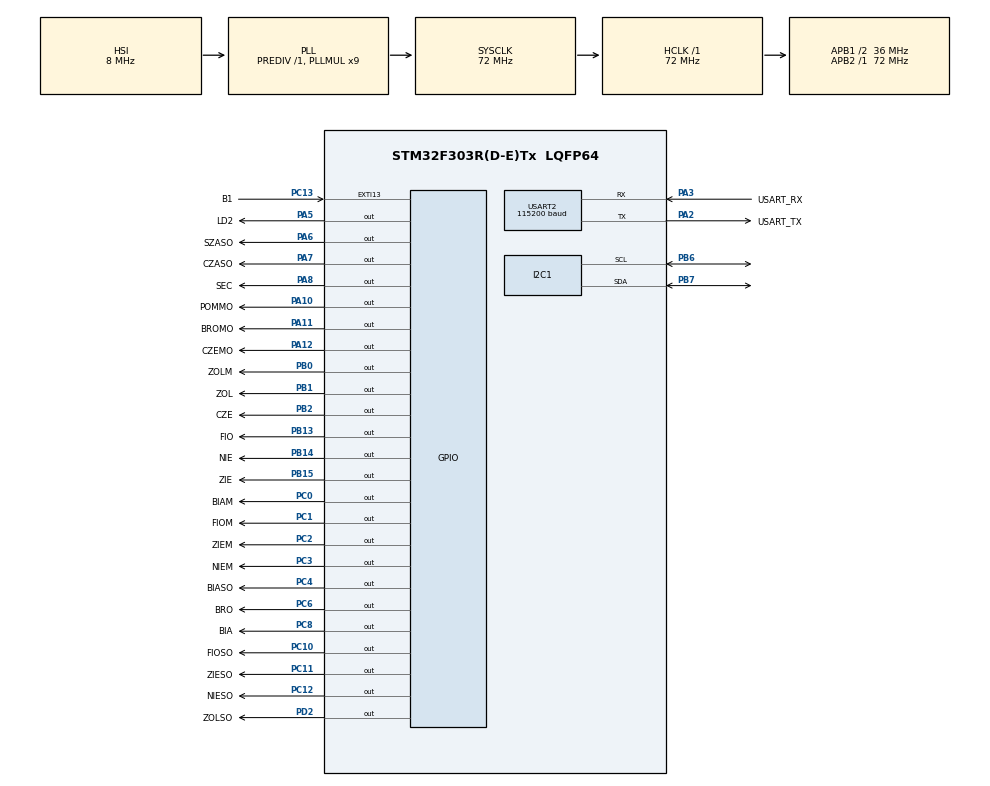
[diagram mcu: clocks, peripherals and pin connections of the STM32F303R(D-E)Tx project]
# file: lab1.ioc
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Mcu.Family=STM32F3
Mcu.Name=STM32F303R(D-E)Tx
Mcu.Package=LQFP64
NVIC.EXTI15_10_IRQn=true\:0\:0\:false\:false\:true\:true\:true
NVIC.I2C1_EV_IRQn=true\:0\:0\:false\:false\:true\:true\:true
NVIC.PriorityGroup=NVIC_PRIORITYGROUP_0
NVIC.RTC_Alarm_IRQn=true\:0\:0\:false\:false\:true\:true\:true
NVIC.RTC_WKUP_IRQn=true\:0\:0\:false\:false\:true\:true\:true
NVIC.TIM6_DAC_IRQn=true\:0\:0\:false\:false\:true\:true\:true
NVIC.TIM7_IRQn=true\:0\:0\:false\:false\:true\:true\:true
NVIC.USART2_IRQn=true\:0\:0\:false\:false\:true\:true\:true
PA10.GPIO_Label=POMMO
PA10.Signal=GPIO_Output
PA11.GPIO_Label=BROMO
PA11.Signal=GPIO_Output
PA12.GPIO_Label=CZEMO
PA12.Signal=GPIO_Output
PA13.GPIO_Label=TMS
PA13.Mode=Serial_Wire
PA13.Signal=SYS_JTMS-SWDIO
PA14.GPIO_Label=TCK
PA14.Mode=Serial_Wire
PA14.Signal=SYS_JTCK-SWCLK
PA2.GPIO_Label=USART_TX
PA2.GPIO_Mode=GPIO_MODE_AF_PP
PA2.GPIO_PuPd=GPIO_NOPULL
PA2.GPIO_Speed=GPIO_SPEED_FREQ_LOW
PA2.Mode=Asynchronous
PA2.Signal=USART2_TX
PA3.GPIO_Label=USART_RX
PA3.GPIO_Mode=GPIO_MODE_AF_PP
PA3.GPIO_PuPd=GPIO_NOPULL
PA3.GPIO_Speed=GPIO_SPEED_FREQ_LOW
PA3.Mode=Asynchronous
PA3.Signal=USART2_RX
PA5.GPIO_Label=LD2
PA5.GPIO_Mode=GPIO_MODE_OUTPUT_PP
PA5.GPIO_PuPd=GPIO_NOPULL
PA5.GPIO_Speed=GPIO_SPEED_FREQ_LOW
PA5.Signal=GPIO_Output
PA6.GPIO_Label=SZASO
PA6.Signal=GPIO_Output
PA7.GPIO_Label=CZASO
PA7.Signal=GPIO_Output
PA8.GPIO_Label=SEC
PA8.Signal=GPIO_Output
PB0.GPIO_Label=ZOLM
PB0.Signal=GPIO_Output
PB1.GPIO_Label=ZOL
PB1.Signal=GPIO_Output
PB13.GPIO_Label=FIO
PB13.Signal=GPIO_Output
PB14.GPIO_Label=NIE
PB14.Signal=GPIO_Output
PB15.GPIO_Label=ZIE
PB15.Signal=GPIO_Output
PB2.GPIO_Label=CZE
PB2.Signal=GPIO_Output
PB3.GPIO_Label=SWO
PB3.Signal=SYS_JTDO-TRACESWO
PB6.Mode=I2C
PB6.Signal=I2C1_SCL
PB7.Mode=I2C
PB7.Signal=I2C1_SDA
PC0.GPIO_Label=BIAM
PC0.Signal=GPIO_Output
PC1.GPIO_Label=FIOM
PC1.Signal=GPIO_Output
PC10.GPIO_Label=FIOSO
PC10.Signal=GPIO_Output
PC11.GPIO_Label=ZIESO
PC11.Signal=GPIO_Output
PC12.GPIO_Label=NIESO
PC12.Signal=GPIO_Output
PC13.GPIO_Label=B1
PC13.GPIO_ModeDefaultEXTI=GPIO_MODE_IT_FALLING
PC13.Signal=GPXTI13
PC14-OSC32_IN.Mode=LSE-External-Oscillator
PC14-OSC32_IN.Signal=RCC_OSC32_IN
PC15-OSC32_OUT.Mode=LSE-External-Oscillator
PC15-OSC32_OUT.Signal=RCC_OSC32_OUT
PC2.GPIO_Label=ZIEM
PC2.Signal=GPIO_Output
PC3.GPIO_Label=NIEM
PC3.Signal=GPIO_Output
PC4.GPIO_Label=BIASO
PC4.Signal=GPIO_Output
PC6.GPIO_Label=BRO
PC6.Signal=GPIO_Output
PC8.GPIO_Label=BIA
PC8.Signal=GPIO_Output
PD2.GPIO_Label=ZOLSO
PD2.Signal=GPIO_Output
PF0-OSC_IN.Mode=HSE-External-Clock-Source
PF0-OSC_IN.Signal=RCC_OSC_IN
PF1-OSC_OUT.Signal=RCC_OSC_OUT
ProjectManager.HeapSize=0x200
ProjectManager.StackSize=0x400
ProjectManager.TargetToolchain=STM32CubeIDE
RCC.AHBFreq_Value=72000000
RCC.APB1CLKDivider=RCC_HCLK_DIV2
RCC.APB1Freq_Value=36000000
RCC.APB1TimFreq_Value=72000000
RCC.APB2Freq_Value=72000000
RCC.APB2TimFreq_Value=72000000
RCC.CortexFreq_Value=72000000
RCC.HCLKFreq_Value=72000000
RCC.HSE_VALUE=8000000
RCC.HSI_VALUE=8000000
RCC.PLLM=8
RCC.PLLMUL=RCC_PLL_MUL9
RCC.PLLN=336
RCC.PLLP=RCC_PLLP_DIV4
RCC.PLLQ=7
RCC.RCC_PLLsource_Clock_Source_FROM_HSE=RCC_HSE_PREDIV_DIV2
RCC.SYSCLKFreq_VALUE=72000000
RCC.SYSCLKSourceVirtual=RCC_SYSCLKSOURCE_PLLCLK
RCC.USBFreq_Value=72000000
RTC.Alarm-Alarm\ A=RTC_ALARM_A
RTC.Alarm_B-Alarm\ B=RTC_ALARM_B
RTC.Date=30
RTC.Format=RTC_FORMAT_BIN
RTC.Hours=13
RTC.Minutes=58
RTC.WeekDay=RTC_WEEKDAY_SUNDAY
RTC.Year=22
TIM6.AutoReloadPreload=TIM_AUTORELOAD_PRELOAD_ENABLE
TIM6.Period=65536 - 1
TIM6.Prescaler=10000-1
TIM7.AutoReloadPreload=TIM_AUTORELOAD_PRELOAD_ENABLE
TIM7.Prescaler=72-1
USART2.BaudRate=115200
USART2.VirtualMode-Asynchronous=VM_ASYNC
VP_RTC_VS_RTC_Activate.Mode=RTC_Enabled
VP_RTC_VS_RTC_Alarm_A_Intern.Mode=Alarm A
VP_RTC_VS_RTC_Alarm_B_Intern.Mode=Alarm B
VP_RTC_VS_RTC_Calendar.Mode=RTC_Calendar
VP_RTC_VS_RTC_WakeUp_intern.Mode=WakeUp
VP_TIM6_VS_ClockSourceINT.Mode=Enable_Timer
VP_TIM7_VS_ClockSourceINT.Mode=Enable_Timer
board=NUCLEO-F303RE

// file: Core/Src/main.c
/* USER CODE BEGIN Header */
/**
  ******************************************************************************
  * @file           : main.c
  * @brief          : Main program body
  ******************************************************************************
  * @attention
  *
  * <h2><center>&copy; Copyright (c) 2021 STMicroelectronics.
  * All rights reserved.</center></h2>
  *
  * This software component is licensed by ST under BSD 3-Clause license,
  * the "License"; You may not use this file except in compliance with the
  * License. You may obtain a copy of the License at:
  *                        opensource.org/licenses/BSD-3-Clause
  *
  ******************************************************************************
  */
/* USER CODE END Header */
#include "main.h"
#include "i2c.h"
#include "rtc.h"
#include "tim.h"
#include "usart.h"
#include "gpio.h"

/* USER CODE BEGIN Includes */
#include <stdbool.h>
#include <string.h>
#include <ctype.h>
#include <stdarg.h>
#include <stdio.h>

/* USER CODE END Includes */

/* USER CODE BEGIN PD */
#define RX_BUFF_SIZE 512
#define TX_BUFF_SIZE 512
#define FRAME_SIZE 256

/* ===== frame ===== */
#define start_sign 0x24 /* $ */
#define end_sign  0x23 /* # */
#define command_size 128
#define data_size 125

/* USER CODE END PD */

/* USER CODE BEGIN PV */

	static uint16_t x1hzTime = 0;
	static uint16_t x4hzTime = 0;
	static uint8_t x1hz = 0;
	static uint8_t x4hz = 0;
	uint16_t buttonMode = 0;

	/* ============================ USART ====================== */

	/* ===== BUFOR RX ===== */

	uint8_t Rx_buff[RX_BUFF_SIZE];
	uint16_t volatile Rx_empty = 0; //tail //read
	uint16_t volatile Rx_busy = 0; //head //write

	/* ===== BUFOR TX ===== */

	uint8_t Tx_buff[TX_BUFF_SIZE];
	uint16_t volatile Tx_empty = 0;
	uint16_t volatile Tx_busy = 0;

	/* ============================  END USART  ====================== */

	/* ==== FRAME === */

	char frame[FRAME_SIZE];
	uint16_t volatile Frame_busy = 0;
	uint16_t volatile frameLength = 0;
	uint8_t frame_found = 0;

	/* ===== CORE COMMANDS SYSTEM ==== */

	char command[128]; //command
	uint8_t volatile command_busy = 0;

	char data[125]; //data from command
	uint8_t volatile data_busy = 0;

	/* ================ CLOCK LOGIC ================  */
	uint8_t hour_displayed = 0;

	RTC_HandleTypeDef hrtc;
	RTC_AlarmTypeDef sAlarm;

	static RTC_TimeTypeDef sTime;
	static RTC_DateTypeDef sDate;

	uint8_t volatile clock_mode = 1; //Sets the clock mode  1 -  CLOCK MODE ////// 2  - HOUR DISPLAY MODE
	uint8_t volatile hour_to_show = 0; //hour to show on diodes
	uint8_t volatile minute_to_show = 0;
	uint8_t volatile second_to_show = 0;

	/* ============= alarm logic ========== */
	uint8_t volatile day_to_set = 0; //set day to set the alarm
	uint8_t volatile month_to_set = 0;
	uint16_t volatile year_to_set  = 0;

	//poszczegolne zmienne alarmow
	uint16_t volatile hours[16];
	uint16_t volatile months[16];
	uint16_t volatile days[16];
	uint16_t volatile minutes[16];
	uint16_t volatile seconds[16];

	//set hours to set the alarm

	uint8_t volatile hour_to_set = 0;
	uint8_t volatile minute_to_set = 0;
	uint8_t volatile second_to_set = 0;

	/* ==== sterowanie diodą ==== */
	uint8_t volatile blink_mode = 0;
	uint16_t volatile pTimeOn;
	uint16_t volatile pTimeOff;
	uint16_t volatile pCount;

	uint16_t volatile time_on = 500;
	uint16_t volatile time_off = 0;
	uint16_t volatile blink_count = 0;
	extern uint16_t led_delay;

	/* ===== timery dioda ==== */

	uint32_t volatile pBlinkTime;
	uint16_t volatile blink_time;
	uint32_t volatile timer_value = 0;

	/* === delay timer logic ==== */
	uint8_t volatile delayFlag = 0;
	uint16_t volatile delayTime = 0;
	uint32_t volatile delayTimer_value = 0;

/* USER CODE END PV */

void SystemClock_Config(void);
/* USER CODE BEGIN PFP */
void delay_1hz(){
	x1hzTime++;
	if( x1hzTime >= 1000){
		x1hz = 1;
		x1hzTime = 0;
	}
}

void delay_4hz(){
	x4hzTime++;

	if(x4hzTime >= 250){
		x4hz = 1;
		x4hzTime = 0;
	}

}

/* TIMER DELAYS */
void delayUs(uint16_t us){
	__HAL_TIM_SET_COUNTER(&htim7, 0);
	while(__HAL_TIM_GET_COUNTER(&htim6) < us);
}

void delayMs(uint16_t ms){
	for(uint16_t i = 0; i < ms; i++){
		delayUs(1000); //1ms delay
	}
}

/* USER CODE END PFP */

/* USER CODE BEGIN 0 */

/* ===== blink HANDLERS ===== */

void assignBlinkParamsCommand(){
	time_on = pTimeOn;
	time_off = pTimeOff + pTimeOn;
	blink_count = pCount;
	blink_mode = 1;

}
void handleBlinkCommand(){
	if(led_delay <= time_on){
		HAL_GPIO_WritePin(BRO_GPIO_Port, BRO_Pin, GPIO_PIN_SET);

	} else if(led_delay <= time_off){
		HAL_GPIO_WritePin(BRO_GPIO_Port, BRO_Pin, GPIO_PIN_RESET);

	} else {
		led_delay = 0;
		blink_count -= 1;
		if(blink_count <= 0){
			blink_mode = 0;
		}
	}

}
/* ===== init usart ==== */
void UART_init(){
	Rx_empty = 0;
	Rx_busy = 0;
	Tx_empty = 0;
	Tx_busy = 0;
	memset(Rx_buff, 0, RX_BUFF_SIZE);
	memset(Tx_buff, 0, TX_BUFF_SIZE);
}

/* ===== SEND USART ==== */

/*send poprawiony - dodano flage */

void Send(char* message, ...){
	char temp[256];

	volatile int idx = Tx_empty;
	int i;

	va_list arglist;
	va_start(arglist, message);

	vsprintf(temp, message, arglist);

	va_end(arglist);

	for(i = 0; i < strlen(temp); i++){
		Tx_buff[idx] = temp[i];
		idx++;
		if(idx >= TX_BUFF_SIZE){
			idx = 0;
		}

	}
	__disable_irq();

	if((Tx_empty == Tx_busy) && (__HAL_UART_GET_FLAG(&huart2, UART_FLAG_TXE == SET))){
		Tx_empty = idx;
		uint8_t tmp = Tx_buff[Tx_busy];
		Tx_busy++;
		if(Tx_busy >= TX_BUFF_SIZE){
			Tx_busy = 0;
		}

		HAL_UART_Transmit_IT(&huart2, &tmp, 1);

	} else {
		Tx_empty = idx;
	}
	__enable_irq();

}

/* send usart callback */
void HAL_UART_TxCpltCallback(UART_HandleTypeDef *huart){
	if(Tx_busy != Tx_empty){

		uint8_t temp = Tx_buff[Tx_busy];
		Tx_busy++;

		if(Tx_busy >= TX_BUFF_SIZE){
			Tx_busy = 0;
		}
		HAL_UART_Transmit_IT(&huart2, &temp, 1);
	}
}

/* ===== receive usart callback ===== */
void HAL_UART_RxCpltCallback(UART_HandleTypeDef *huart){
	if(huart->Instance == USART2){
		Rx_empty++;
		if(Rx_empty >= RX_BUFF_SIZE){
			Rx_empty = 0;
		}
		HAL_UART_Receive_IT(&huart2, &Rx_buff[Rx_empty], 1);

	}
}

/* ===== check if data stopped being received ===== */

uint8_t uart_ready(){
	if(Rx_empty == Rx_busy){
		return 0;
	} else {
		return 1;
	}
}

/* ====== END USART ==== */

/* ======== RTC =========== */

void HAL_RTCEx_WakeUpTimerEventCallback(RTC_HandleTypeDef *hrtc){

	/* place for checking if the next alarm is set */

	//przy dodawaniu alarmu i przy przerwaniu alarmu sprawdzac czy jest alarm, który jest świeższy

	// zapisywanie alarmu do flasha

	//2. sprawdzenie czy alarm jest na wczesniejsza date od tego nowego
	//3. jeśli jest wczesniejszy -> ustawienie tego alarmu
	//4. przy callbacku alarmu pobrac alarmy z flasha i sprawdzic kolejny i ustawić go

	HAL_RTC_GetTime(hrtc, &sTime, RTC_FORMAT_BIN);
	HAL_RTC_GetDate(hrtc, &sDate, RTC_FORMAT_BIN);

	//Send("%2.2u:%2.2u:%2.2u\n\r", sTime.Hours, sTime.Minutes, sTime.Seconds);
	//HAL_GPIO_TogglePin(SEC_GPIO_Port, SEC_Pin);

	 uint8_t hours = sTime.Hours;
	 uint8_t minutes = sTime.Minutes;
	 uint8_t seconds = sTime.Seconds;

	 if(clock_mode == 1){
		 displayHour(hours, minutes, seconds);
	 }

}

/* ===== PARSERS ===== */

uint8_t test2 = 0;
void parseCommand(){
	uint8_t picked_command = 0;

	//porównywać znak po znaku każdą komendę?
	//todo

	if(strcmp("setMode", command) == 0){

		handleSetClockMode();

	} else if (strcmp("setTime", command) == 0){
		parseTime();
		resetPins();

		setTime(sTime, hour_to_show, minute_to_show, second_to_show);

	} else if (strcmp("getTime", command) == 0) {
		Send("$Success=%2.2u:%2.2u:%2.2u#\r\n", sTime.Hours, sTime.Minutes, sTime.Seconds);
		Send("$Success=%2.2u/%2.2u/%2.2u#\r\n", sDate.Date, sDate.Month, sDate.Year);

	}else if(strcmp("setAlarm", command) == 0){
//		uint8_t test = 0x5a;
//		HAL_I2C_Mem_Write(&hi2c1, 0xa0, 0x10, 1, (uint8_t*)&test, sizeof(test), HAL_MAX_DELAY);

		parseDateTime();
		handleSetAlarm(sDate, day_to_set, month_to_set, year_to_set, hour_to_set, minute_to_set, second_to_set);

	} else if(strcmp("getAlarms", command) == 0){
		handleGetAlarms();

	} else if (strcmp("getAlarmsCount", command) == 0){

	} else if (strcmp("resetAlarms", command) == 0){
		handleResetAlarms();
		clearAlarms();

	} else if (strcmp("showHour", command) == 0){

		parseTime();

		handleShowHour(hour_to_show, minute_to_show, second_to_show);

	}
	else {
		sendFail(1);
	}

	//handle picked command

	clearCommand();
	clearData();
	Frame_busy = 0;

	/*	if(strcmp("$LED[ON]#", frame) == 0){
				HAL_GPIO_WritePin(BRO_GPIO_Port, BRO_Pin, GPIO_PIN_SET);
			}
			else if(strcmp("$LED[OFF]#", frame) == 0){
				HAL_GPIO_WritePin(BRO_GPIO_Port, BRO_Pin, GPIO_PIN_RESET);
			} else if(sscanf(frame, "$LED[BLINK,%d,%d,%d]#", &pTimeOn, &pTimeOff, &pCount) == 3){
				assignBlinkParamsCommand();

			} else if(sscanf(frame, "$LED[BLINK,%d]#", &pBlinkTime) == 1){
				blink_mode = 2;
				blink_time = pBlinkTime;

			} else if(sscanf(frame, "$LED[Delay,%d]#", &delayTime) == 1){
				delayFlag = 1;
			}
			else {
				Send("Nieprawidłowa komenda \n\r");

			} */

}
//data parser
void parseData(){

}

//parse only time in format HH:MM:SS
void parseTime(){
	hour_to_show = 0;
	minute_to_show = 0;
	second_to_show = 0;

	 if(sscanf(data, "%d:%d:%d", &hour_to_show, &minute_to_show, &second_to_show) == 3){

		 Send("$Success=1#\r\n");

	 } else {

		 sendFail(2);
	 }
}

//parse date and time at the same time

void parseDateTime(){

	if(sscanf(data, "%d/%d/%d/%d:%d:%d", &day_to_set, &month_to_set, &year_to_set, &hour_to_set, &minute_to_set, &second_to_set) == 6){

	} else {
		sendFail(2);
	}
}

int parseIntData(){
	int single_param = 0;

	if(sscanf(data, "%d", &single_param) == 1){
		return single_param;
	}
	else {
		sendFail(2);
	}

}
//function to parse alarms downloaded from flash

uint8_t parseAlarms(uint16_t alarms[]){

//					alarm_to_set[0] = day;
//					alarm_to_set[1] = month;
//					alarm_to_set[2] = year;
//					alarm_to_set[3] = hour;
//					alarm_to_set[4] = minute;
//					alarm_to_set[5] = second;

	clearAlarms();

	//arrays with separate values to find the min value

	uint8_t days_idx = 0;

	uint8_t months_idx = 0;

	uint8_t hours_idx = 0;

	uint8_t minutes_idx = 0;

	uint8_t seconds_idx = 0;

	uint8_t alarms_size = 128;

	uint8_t day_start_idx = 0;
	uint8_t month_start_idx = 0;
	uint8_t year_start_idx = 0;
	uint8_t hour_start_idx = 0;
	uint8_t minute_start_idx = 0;
	uint8_t second_start_idx = 0;

	for(int i = 0; i < alarms_size; i++){
		//
		if(i == 0 ){
			day_start_idx = i;

		}
		if(i == 1){
			month_start_idx = i;
		}
		if(i == 3){
			hour_start_idx = i;
		}
		if(i == 4){
			minute_start_idx = i;
		}
		if(i == 5){
			second_start_idx = i;
		}
	}

	//sepearte each value to different array
	//inc by 5 to check only days
	for(int i = day_start_idx; i < alarms_size; i+=6){
		if(alarms[i] != 255){

		days[days_idx++] = alarms[i];
		}
	}

	//check month
	for(int i = month_start_idx; i < alarms_size; i+=6){
		if(alarms[i] != 255){
			months[months_idx++] = alarms[i];
		}

	}

	for(int i = hour_start_idx; i < alarms_size; i+=6){
			if(alarms[i] != 255){
				hours[hours_idx++] = alarms[i];
			}

		}
	for(int i = minute_start_idx; i < alarms_size; i+=6){
				if(alarms[i] != 255){
					minutes[minutes_idx++] = alarms[i];
				}

			}
	for(int i = second_start_idx; i < alarms_size; i+=6){
			if(alarms[i] != 255){
			seconds[seconds_idx++] = alarms[i];
		}

		}
	//parse alarm to get the earliest alarm to set

	uint8_t location_months = 0;
	uint8_t location_days = 0;
	uint8_t location_hours = 0;
	uint8_t location_minutes = 0;
	uint8_t location_seconds = 0;

	uint8_t checker = 0;

		for(int i = 0; i < 16; i++){
			if(months[i] > 0){
				if(months[i] < months[location_months]){
					location_months = i;
				}
			}
			if(days[i] > 0){
				if(days[i] < days[location_days]){
					location_days = i;
				}
			}
			if(hours[i] > 0){
				if(hours[i] < hours[location_hours]){
					location_hours = i;
				}
			}
			if(minutes[i] > 0){
				if(minutes[i] < minutes[location_minutes]){
					location_minutes = i;
				}

			}
			if(seconds[i] > 0){
				if(seconds[i] < seconds[location_seconds]){
					location_seconds = i;
				}
			}

		}

		//get the minimum month - closest alarm
		uint8_t min_day = days[location_days];
		uint8_t min_month = months[location_months];
		uint8_t min_hour = hours[location_hours];
		uint8_t min_minute = minutes[location_minutes];
		uint8_t min_second = seconds[location_seconds];

		//check for same values to distinc the minimum value
		if(months[location_days] == min_month){
			location_months = location_days;
		}

		if(hours[location_minutes] == min_hour){
			location_hours = location_minutes;
		}

		if(minutes[location_seconds] == min_second){
			location_minutes = min_second;
		}

		Send("Location minuets: %d  ", location_minutes);

		return location_minutes;

	//in case

	Send("Minimum month found: %d at location %d", months[location_months], location_months);

	Send("Minimum day found: %d at location %d", days[location_days], location_days);
	//check day and month if they do not overlap

	Send("MInimum alarm: %d %d", min_day, min_month);

}

/* ==== clear after command is executed to receive next command " ==== */

void clearCommand(){
	command_busy = 0;

	memset(command, 0, command_size);

}

void clearData(){
	data_busy = 0;
	memset(data, 0, data_size);
}

void clearAlarms(){
		memset(days, 0, sizeof(days));
		memset(minutes, 0, sizeof(minutes));
		memset(months, 0, sizeof(months));
		memset(seconds, 0, sizeof(seconds));
		memset(hours, 0, sizeof(hours));
}

/* ====FRAME LOGIC ====*/

//decode frame and split dat and command
void decodeFrame() {

		uint8_t data_idx = 0;
		uint8_t command_idx = 0;
		uint8_t command_end_idx = 0;
		uint8_t required_pass = 0; //check if all the required signs are in the frame

	//check if begining exists
	if(frame[0] == start_sign){
		required_pass++;
		frame[0] = 0x00;
		//if char was received, consider it as first sign so the length should be + 1

	}

	//check if end exists
	if(frame[frameLength - 1] == end_sign){
		required_pass++;
		frame[frameLength - 1] = 0x00;
	}

	for(int i = 0; i < frameLength; i++){
		if(frame[i] == '='){
			required_pass++;
			data_idx = i + 1;
			command_end_idx = i - 1;

		}
	}

   //if all required signs are in place, check if command exists
	//===== COMMAND ===== //

	if(required_pass == 3 && (command_end_idx != command_idx)){

		//rewrite command to the command table
		for(int i = 1; i <= command_end_idx; i++){

			//prevent memory leaks
			if(command_busy >= command_size){
				command_busy = 0;
				memset(command, 0, command_size);
				i = 1;
			 }

			 command[command_busy++] = frame[i];

		}

	}

	// ===== DATA ==== //
	//if all required signs are in place check if data exists {

	if(required_pass == 3 && (data_idx != frameLength - 1)){
		//Send("Data exists!\r\n");
		for(int i = data_idx; i <= frameLength - 1; i++){
			//prevent memory leaks
			if(data_busy >= data_size){
				data_busy = 0;
				memset(data, 0, data_size);
				i = data_idx;
			}
			//copy data to the data table
			data[data_busy++] = frame[i];

		}

	}

}

//download frame from data sent
void downloadFrame(){

	char byte = Rx_buff[Rx_busy]; //single frame char

	//control ringbuffer
	Rx_busy++;

	if(Rx_busy >= RX_BUFF_SIZE){
		Rx_busy = 0;
	}
		//if found start of frame char
		if(byte == 0x24 /* $ */ ){
			memset(frame, 0x00, FRAME_SIZE); //reset frame #
			frame_found = 1; //set the flag to continue downloading chars

			Frame_busy = 0;
			frameLength = 1; //set frame length to one cos $ is already in the frame

		} else if(frame_found == 1){ //frame length if more than one start sign is found

			frameLength++;

		}

		//if frame found start downloading frame
		//start downloading the frame
		if(frame_found == 1){

				//copy a frame to analyze it
					frame[Frame_busy++] = byte; //download chars

			}

		//check if frame is not too long
		if(frameLength >= FRAME_SIZE){
			memset(frame, 0x00, FRAME_SIZE);
			Frame_busy = 0;
			frameLength = 0;
			frame_found = 0;
			sendFail(4);
		}

		//if end of frame is reached
		if(byte == 0x23 && frame_found == 1 /* # */ ){
			frame_found = 0; //stop downloading chars
			Frame_busy = 0; //reset frame

		  //if frame is received, analyze it
			decodeFrame();
			parseCommand();

			//reset framelength to zero

			frameLength = 0;

		 }

}

void buttonHandler() {

	 if(!HAL_GPIO_ReadPin(B1_GPIO_Port, B1_Pin)){

			  buttonMode = !buttonMode;

			  x1hz = 0;
			  x4hz = 0;

			  HAL_Delay(400);

		  }

		  if(buttonMode == 1){
			  if(x1hz == 1){
				  HAL_GPIO_TogglePin(BIA_GPIO_Port, BIA_Pin);
				  x1hz = 0;
			  }

		  }
		  else {
			  if(x4hz == 1){
				  HAL_GPIO_TogglePin(BIA_GPIO_Port, BIA_Pin);
				  x4hz = 0;
			  }
		  }

}

/* send functions
 *
 *
 */
void sendFail(uint8_t code){

	Send("$Fail=%d#", code);

}

/* USER CODE END 0 */

int main(void)
{
  /* USER CODE BEGIN 1 */
	UART_init();
	FLASH_init();
  /* USER CODE END 1 */

  /* MCU Configuration--------------------------------------------------------*/

  /* Reset of all peripherals, Initializes the Flash interface and the Systick. */
  HAL_Init();

  /* Configure the system clock */
  SystemClock_Config();

  /* Initialize all configured peripherals */
  MX_GPIO_Init();
  MX_USART2_UART_Init();
  MX_TIM6_Init();
  MX_TIM7_Init();

  MX_I2C1_Init();
  /* USER CODE BEGIN 2 */
  if (HAL_RTCEx_BKUPRead(&hrtc, RTC_BKP_DR1) != 0x32F2){
	  MX_RTC_Init();
  }
  Alarms_init();

  /* ===== RTC set time ==== */
  RTC_TimeTypeDef sTime;
  RTC_DateTypeDef sDate;

  //set time
  HAL_RTCEx_DeactivateWakeUpTimer(&hrtc);

  HAL_RTCEx_SetWakeUpTimer_IT(&hrtc, 2500 - 1, RTC_WAKEUPCLOCK_RTCCLK_DIV16);

  HAL_UART_Receive_IT(&huart2, &Rx_buff[Rx_empty], 1);

  Send("$Success=Hello, im STM32!#\r\n");

  //uint32_t data2 = {0x3, 0x13, 0x12};
  //flash_write(0x08004410, (uint32_t*)data2, 3);

  /* === TIMER INIT ===== */
  HAL_TIM_Base_Start(&htim6);

  timer_value = __HAL_TIM_GET_COUNTER(&htim6);

//  uint8_t test = 0x5a;
//  HAL_I2C_Mem_Write(&hi2c1, 0xa0, 0x10, 1, (uint8_t*)&test, sizeof(test), HAL_MAX_DELAY);
//
//
//  uint8_t data1;
//
//  HAL_I2C_Mem_Read(&hi2c1, 0xa0, 0x00, 1, &data1, 1, HAL_MAX_DELAY);

  /* USER CODE END 2 */

  /* Infinite loop */
  /* USER CODE BEGIN WHILE */
  while (1)
  {

	  //send time
	  //HAL_RTC_GetTime(&hrtc, &sTime, RTC_FORMAT_BIN);

	  //Send("%2.2u:%2.2u:%2.2u\n\r", sTime.Hours, sTime.Minutes, sTime.Seconds);

	  //display hour if clock mode is set to display hour

	  if(clock_mode == 2 && hour_displayed == 0 && hour_to_show != 0){
		  displayHour(hour_to_show, minute_to_show, second_to_show);
	   }

	 buttonHandler();

	 while(uart_ready()){

		 downloadFrame();
	 }

	 /* ==== LED BLINKING WITH TIMER AND NORMAL === */
	 if(blink_mode == 1){
		 handleBlinkCommand();
	 } else if(blink_mode == 2){
		 if(__HAL_TIM_GET_COUNTER(&htim6) - timer_value >= blink_time){
			 HAL_GPIO_TogglePin(BRO_GPIO_Port, BRO_Pin);
			 timer_value = __HAL_TIM_GET_COUNTER(&htim6);
		 }
	 }

	 /* ==== delay settings ==== */

	 if(delayFlag == 1){

		 delayMs(delayTime);

	 }

    /* USER CODE END WHILE */

  }
}

void SystemClock_Config(void)
{
  RCC_OscInitTypeDef RCC_OscInitStruct = {0};
  RCC_ClkInitTypeDef RCC_ClkInitStruct = {0};
  RCC_PeriphCLKInitTypeDef PeriphClkInit = {0};

  /** Initializes the RCC Oscillators according to the specified parameters
  * in the RCC_OscInitTypeDef structure.
  */
  RCC_OscInitStruct.OscillatorType = RCC_OSCILLATORTYPE_HSI|RCC_OSCILLATORTYPE_LSI;
  RCC_OscInitStruct.HSIState = RCC_HSI_ON;
  RCC_OscInitStruct.HSICalibrationValue = RCC_HSICALIBRATION_DEFAULT;
  RCC_OscInitStruct.LSIState = RCC_LSI_ON;
  RCC_OscInitStruct.PLL.PLLState = RCC_PLL_ON;
  RCC_OscInitStruct.PLL.PLLSource = RCC_PLLSOURCE_HSI;
  RCC_OscInitStruct.PLL.PLLMUL = RCC_PLL_MUL9;
  RCC_OscInitStruct.PLL.PREDIV = RCC_PREDIV_DIV1;
  if (HAL_RCC_OscConfig(&RCC_OscInitStruct) != HAL_OK)
  {
    Error_Handler();
  }
  /** Initializes the CPU, AHB and APB buses clocks
  */
  RCC_ClkInitStruct.ClockType = RCC_CLOCKTYPE_HCLK|RCC_CLOCKTYPE_SYSCLK
                              |RCC_CLOCKTYPE_PCLK1|RCC_CLOCKTYPE_PCLK2;
  RCC_ClkInitStruct.SYSCLKSource = RCC_SYSCLKSOURCE_PLLCLK;
  RCC_ClkInitStruct.AHBCLKDivider = RCC_SYSCLK_DIV1;
  RCC_ClkInitStruct.APB1CLKDivider = RCC_HCLK_DIV2;
  RCC_ClkInitStruct.APB2CLKDivider = RCC_HCLK_DIV1;

  if (HAL_RCC_ClockConfig(&RCC_ClkInitStruct, FLASH_LATENCY_2) != HAL_OK)
  {
    Error_Handler();
  }
  PeriphClkInit.PeriphClockSelection = RCC_PERIPHCLK_USART2|RCC_PERIPHCLK_I2C1
                              |RCC_PERIPHCLK_RTC;
  PeriphClkInit.Usart2ClockSelection = RCC_USART2CLKSOURCE_PCLK1;
  PeriphClkInit.I2c1ClockSelection = RCC_I2C1CLKSOURCE_HSI;
  PeriphClkInit.RTCClockSelection = RCC_RTCCLKSOURCE_LSI;
  if (HAL_RCCEx_PeriphCLKConfig(&PeriphClkInit) != HAL_OK)
  {
    Error_Handler();
  }
}

void Error_Handler(void)
{
  __disable_irq();
  while (1)
  {
  }
}

/************************ (C) COPYRIGHT STMicroelectronics *****END OF FILE****/
